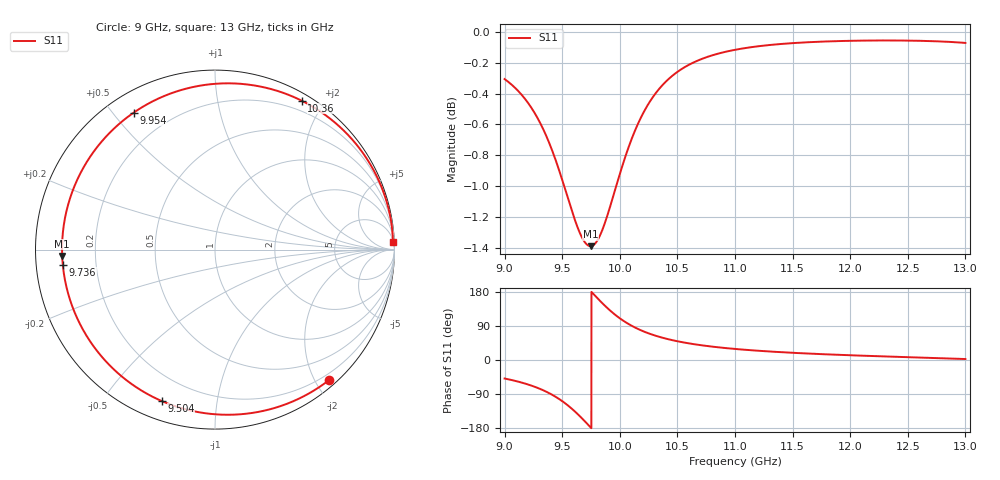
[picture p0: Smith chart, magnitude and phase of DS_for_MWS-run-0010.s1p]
! TOUCHSTONE file generated by CST DESIGN STUDIO
! Date and time: Tue Feb  4 18:42:46 2025
! Project name: C:\Work\MatlabApps\UnitCellOptimizationMatlab\CST\unitcell.cst
! Tree item: Tasks\Sweep1\SPara1\S-Parameters
! Header version: 2024
! Port assignment regex: !\s*Touchstone port\s*([0-9]+)\s*=\s*(CST MWS port|CST DES external port|CST DES block port)\s*(.+)\s* \(\"(.*)\"\)(\s*mode\s*([0-9]+))?.*
! Touchstone port assignment:
! Touchstone port 1 = CST DES external port 1 ("")
# GHz S MA R 50
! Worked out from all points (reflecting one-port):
!   4001 points, 9 GHz to 13 GHz, reference 50 ohm
!   lowest |S11| = -1.4 dB at 9.746 GHz (marker M1), VSWR 12.52, Z = 4 - j1.02 ohm
!   phase of S11 starts at -49 deg and turns -309 deg over the sweep
!   S11 on the Smith chart (normalised r, x): 9 GHz: 0.10, -2.20; 9.504 GHz: 0.08, -0.70; 9.736 GHz: 0.08, -0.05; 9.954 GHz: 0.08, +0.57; 10.36 GHz: 0.08, +1.74; 13 GHz: 8, +43
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9  0.9655 -48.9
9.139  0.955 -58.8
9.268  0.9403 -71.4
9.4  0.9179 -89.6
9.452  0.9067 -98.8
9.5  0.8954 -108.5
9.504  0.8945 -109.4
9.56  0.8807 -122.5
9.615  0.8679 -137.2
9.679  0.8566 -156.2
9.736  0.8522 -174.4
9.746  0.8521 -177.7
9.79  0.8541 168.1
9.837  0.8604 153.3
9.896  0.8728 135.9
9.954  0.8874 120.7
10  0.8993 110.0
10.08  0.9183 94.3
10.176  0.9369 79.4
10.263  0.9496 68.9
10.358  0.96 59.8
10.5  0.9707 49.5
10.718  0.9804 38.5
11  0.9869 29.2
11.5  0.9918 19.0
12  0.9935 12.5
12.5  0.9937 7.4
13  0.992 2.6
